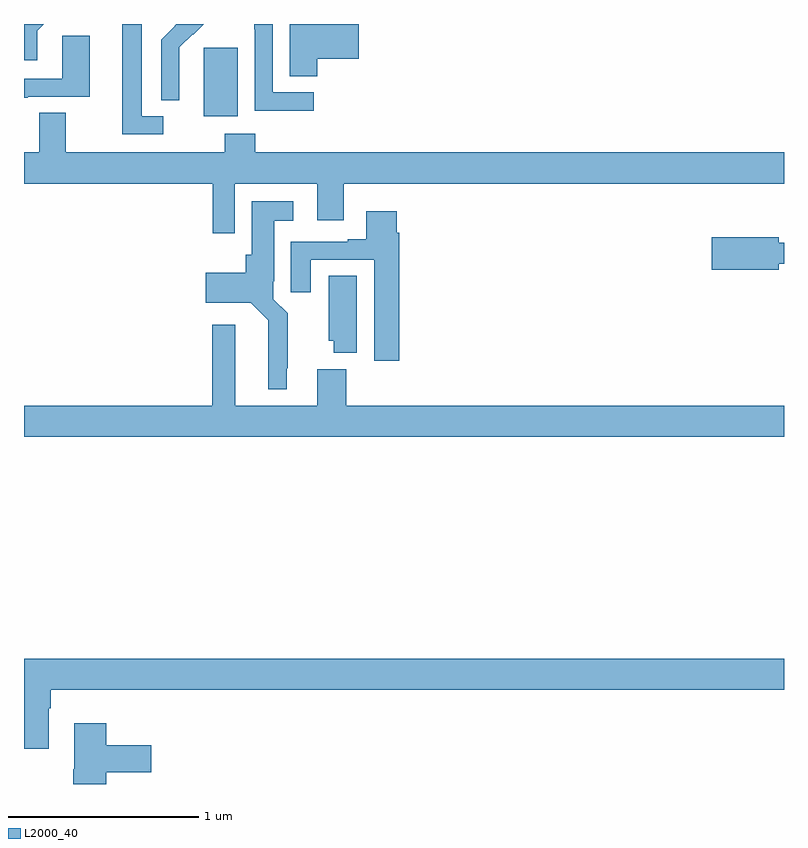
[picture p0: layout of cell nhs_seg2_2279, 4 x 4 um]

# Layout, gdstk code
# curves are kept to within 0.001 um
import gdstk
lib = gdstk.Library(unit=1e-6, precision=1e-09)
def R(c, l, rs):  # rectangles x0, y0, x1, y1
    for r in rs: c.add(gdstk.rectangle(r[:2], r[2:], *l))
def P(c, l, *ps):  # polygons
    for p in ps: c.add(gdstk.Polygon(p, *l))
L2000_40 = (2000, 40)

nhs_seg2_2279 = lib.new_cell('nhs_seg2_2279')
R(nhs_seg2_2279, L2000_40, [(229.946,657.314,230.125,657.675)])
P(nhs_seg2_2279, L2000_40, [(230.543,657.617),(230.761,657.617),(230.761,657.8),(230.399,657.8),(230.399,657.526),(230.543,657.526)],
  [(230.524,657.441),(230.31,657.441),(230.31,657.8),(230.212,657.8),(230.212,657.772),(230.214,657.772),(230.214,657.343),(230.524,657.343)],
  [(229.818,657.554),(229.817,657.554),(229.817,657.677),(229.887,657.747),(229.89,657.744),(229.946,657.8),(229.802,657.8),(229.794,657.792),(229.795,657.791),(229.722,657.718),(229.722,657.4),(229.818,657.4)],
  [(229.732,657.315),(229.621,657.315),(229.621,657.8),(229.517,657.8),(229.517,657.219),(229.732,657.219)],
  [(229.069,657.765),(229.104,657.8),(229,657.8),(229,657.609),(229.069,657.609)],
  [(229.021,657.417),(229.345,657.417),(229.345,657.737),(229.2,657.737),(229.2,657.513),(229,657.513),(229,657.413),(229.021,657.413)],
  [(230.109,656.96),(230.543,656.96),(230.543,656.766),(230.683,656.766),(230.683,656.96),(233,656.96),(233,657.124),(230.216,657.124),(230.216,657.223),(230.056,657.223),(230.056,657.124),(229.219,657.124),(229.219,657.332),(229.079,657.332),(229.079,657.124),(229,657.124),(229,656.96),(229.993,656.96),(229.993,656.7),(230.109,656.7)],
  [(230.383,655.987),(230.387,655.987),(230.387,656.278),(230.313,656.352),(230.313,656.446),(230.317,656.446),(230.317,656.765),(230.416,656.765),(230.416,656.866),(230.198,656.866),(230.198,656.586),(230.168,656.586),(230.168,656.491),(229.956,656.491),(229.956,656.333),(230.193,656.333),(230.286,656.24),(230.285,655.877),(230.383,655.877)],
  [(230.975,656.702),(230.962,656.702),(230.962,656.815),(230.801,656.815),(230.801,656.668),(230.705,656.668),(230.705,656.655),(230.405,656.655),(230.405,656.388),(230.509,656.388),(230.509,656.559),(230.843,656.559),(230.843,656.028),(230.975,656.028)],
  [(232.972,656.538),(233,656.538),(233,656.648),(232.972,656.648),(232.972,656.677),(232.62,656.677),(232.62,656.507),(232.972,656.507)],
  [(230.752,656.474),(230.603,656.474),(230.603,656.133),(230.63,656.133),(230.63,656.069),(230.752,656.069)],
  [(233,655.792),(230.696,655.792),(230.696,655.984),(230.543,655.984),(230.543,655.792),(230.113,655.792),(230.113,656.218),(229.991,656.218),(229.991,655.792),(229,655.792),(229,655.628),(233,655.628)],
  [(229.129,654.2),(229.142,654.2),(229.142,654.296),(233,654.296),(233,654.46),(229,654.46),(229,653.985),(229.129,653.985)],
  [(229.433,653.861),(229.669,653.861),(229.669,654.003),(229.433,654.003),(229.433,654.121),(229.265,654.121),(229.265,653.877),(229.258,653.877),(229.258,653.8),(229.433,653.8)])

lib.write_gds('nhs_seg2_2279.gds')
